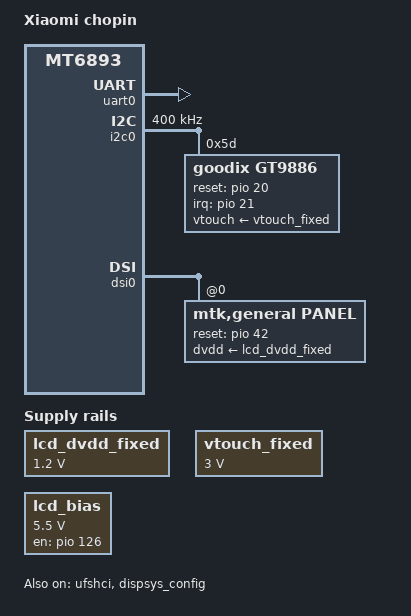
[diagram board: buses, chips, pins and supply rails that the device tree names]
// SPDX-License-Identifier: GPL-2.0
/*
 * Xiaomi chopin (Redmi Note 10 Pro / MT6891Z) board DTS
 * Target: Linux 5.10.233  (Hwhmi/kernel-mtk-6893 @ mt6893-5.10)
 *
 * 板级数据来源：4.14 原厂 arch/arm64/boot/dts/mediatek/chopin-mt6891.dtsi
 * 只取"板级差异"，SoC 内部一律使用 5.10 的 mt6893.dtsi（时钟 ID 两边不一致，不可互抄）
 *
 * 本轮目标：能启动、能挂分区、能出串口。以下内容**故意未包含**，因为它们
 * 依赖的驱动不在 5.10 树里，等系统起来后再逐个补：
 *   - 充电：bq2597x (master@65 / slave@66)、xmusb350@35、cp_qc30、usbpd_pm
 *   - 电量计：bq27z561@55（TI gauge）
 *   - 马达：aw8697_haptic@5a
 *   - 相机 LDO：wl2866d1/d2（5.10 只有 wl2864c / wl2868c）
 *   - 传感器、NFC、红外
 */

/dts-v1/;

#include "mediatek/mt6893.dtsi"
#include "mediatek/mt6359p.dtsi"
#include "mediatek/mt6893-clkitg.dtsi"
#include "mediatek/mt6893-disable-unused.dtsi"
#include "mediatek/cust_mt6893_msdc.dtsi"

/ {
	model = "Xiaomi chopin";
	compatible = "xiaomi,chopin", "mediatek,mt6893";

	/*
	 * memory 节点不写：MTK 由 lk 在启动时把真实 DRAM 布局写进 dtb
	 * （4.14 原厂 dts 里也没有 memory 节点，同样原因）
	 */

	/* ================================================================
	 * bring-up 阶段用 fixed regulator
	 *
	 * 原厂配置：
	 *   屏 DVDD  <- wl2866d2_dvdd2 (I2C9, WL2866D)
	 *   触控 VTP <- mt_pmic_vtp_ldo_reg
	 *
	 * 5.10 的实际情况：
	 *   - regulator 目录只有 wl2864c / wl2868c，没有 wl2866d
	 *   - mt6359p.dtsi 里没有 VTP LDO
	 * 所以先用 always-on 的 fixed regulator 顶上。硬件上 lk 已经把这些电供好了，
	 * 内核只是需要一个"合法对象"来满足 regulator_get()。
	 * ================================================================ */

	lcd_dvdd_fixed: regulator-lcd-dvdd {
		compatible = "regulator-fixed";
		regulator-name = "lcd-dvdd";
		regulator-min-microvolt = <1200000>;
		regulator-max-microvolt = <1200000>;
		regulator-always-on;
		regulator-boot-on;
	};

	vtouch_fixed: regulator-vtouch {
		compatible = "regulator-fixed";
		regulator-name = "vtouch";
		regulator-min-microvolt = <3000000>;
		regulator-max-microvolt = <3000000>;
		regulator-always-on;
		regulator-boot-on;
	};

	/*
	 * 屏偏置 ELVDD/ELVSS：ENP = GPIO126，ENN = GPIO148
	 * 这里只把 ENP 拉高（fixed regulator 只能带一个 gpio）。
	 * 如果点亮后发现偏置不足（画面暗/无显示），改成两路独立 regulator。
	 */
	lcd_bias: regulator-lcd-bias {
		compatible = "regulator-fixed";
		regulator-name = "lcd-bias";
		regulator-min-microvolt = <5500000>;
		regulator-max-microvolt = <5500000>;
		enable-active-high;
		gpio = <&pio 126 0>;
		regulator-always-on;
		regulator-boot-on;
	};
};

/* ================================================================
 * 串口：UART0 @ 0x11002000（早期调试）
 * lk 传的 bootargs 里通常已带 earlycon，这里只保证节点可用
 * ================================================================ */
&uart0 {
	status = "okay";
};

/* ================================================================
 * UFS：5.10 的 mt6893.dtsi 里已经配好 8 个时钟 + 中断 + reset
 * compatible 是 mainline 能认的 "mediatek,mt8183-ufshci"
 * 这里只需要打开
 * ================================================================ */
&ufshci {
	status = "okay";
};

/* ================================================================
 * 触控主选：Goodix GT9886 (I2C0 @ 0x5d)
 * reset = GPIO20, irq = GPIO21, 触摸区 1080x2280
 *
 * config 侧还需要：
 *   CONFIG_TOUCHSCREEN_MTK_TOUCH="GT9886"
 *   # CONFIG_TOUCHSCREEN_GOODIX is not set   ← 防止 mainline goodix.o 抢设备
 * ================================================================ */
&i2c0 {
	clock-frequency = <400000>;
	pinctrl-names = "default", "ts_int_active",
		"ts_reset_active", "ts_int_suspend",
		"ts_reset_suspend", "ts_i2c_mode";
	pinctrl-0 = <&ctp_pins_default>;
	pinctrl-1 = <&ctp_ts_int_active>;
	pinctrl-2 = <&ctp_ts_reset_active>;
	pinctrl-3 = <&ctp_ts_int_suspend>;
	pinctrl-4 = <&ctp_ts_reset_suspend>;
	pinctrl-5 = <&ctp_ts_i2c_mode>;
	status = "okay";

	gt9886@5d {
		compatible = "goodix,gt9886";
		reg = <0x5d>;
		status = "okay";
		interrupt-parent = <&pio>;
		interrupts = <21 IRQ_TYPE_EDGE_FALLING 21 0>;
		vtouch-supply = <&vtouch_fixed>;
		goodix,reset-gpio = <&pio 20 0x0>;
		goodix,irq-gpio = <&pio 21 0x0>;
		goodix,irq-flags = <2>;
		goodix,panel-max-id = <10>;
		goodix,panel-max-x = <1080>;
		goodix,panel-max-y = <2280>;
		goodix,panel-max-w = <256>;
		goodix,panel-max-p = <256>;
		goodix,input-max-x = <1080>;
		goodix,input-max-y = <2280>;
		goodix,panel-key-map = <158 172 217>;
		goodix,power-on-delay-us = <10000>;
		goodix,power-off-delay-us = <5000>;
		goodix,firmware-version = "6893v01";
		goodix,config-version = "6893v01";
		goodix,pen-enable;
		goodix,key-of-pen = <331 332>;
		tpd-filter-enable = <0>;
		tpd-filter-pixel-density = <161>;
		tpd-filter-custom-prameters = <0 0 0 0 0 0 0 0 0 0 0 0>;
		tpd-filter-custom-speed = <0 0 0>;
	};
};

/* ================================================================
 * 触控备选：Novatek NT36672C (SPI0)
 *
 * 原厂 dts 里 SPI0 上挂的是 novatek,NVT-ts-spi，固件名
 * "novatek_nt36672c_k10a_fw01.bin"（tianma）/ fw02（csot）。
 * 说明 chopin 有两种触控物料，按批次不同。
 *
 * 如果 GT9886 在 0x5d 上扫描不到（i2cdetect 无响应），把下面这段
 * 取消注释，并把 CONFIG_TOUCHSCREEN_MTK_TOUCH 改成 "NT36672C"
 * ================================================================ */
/*
&spi0 {
	#address-cells = <1>;
	#size-cells = <0>;
	status = "okay";
	mediatek,pad-select = <1>;
	mediatek,kthread-rt = <1>;

	ts_novatek@0 {
		compatible = "novatek,NVT-ts-spi";
		reg = <0>;
		status = "okay";
		spi-max-frequency = <9600000>;
		novatek,irq-gpio = <&pio 19 0x2001>;
		pinctrl-names = "pmx_ts_active", "pmx_ts_suspend";
		pinctrl-0 = <&ts_int_active &ts_cs_active>;
		pinctrl-1 = <&ts_int_suspend &ts_cs_suspend>;
		novatek,swrst-n8-addr = <0x03F0FE>;
		novatek,spi-rd-fast-addr = <0x03F310>;
		novatek,config-array-size = <2>;
		novatek,cfg_0 {
			novatek,tp-vendor = <0x46>;
			novatek,display-maker = <0x36>;
			novatek,fw-name = "novatek_nt36672c_k10a_fw01.bin";
			novatek,mp-name = "novatek_nt36672c_k10a_mp01.bin";
			novatek,clicknum-file-name = "nvt+tianma";
		};
		novatek,cfg_1 {
			novatek,tp-vendor = <0x53>;
			novatek,display-maker = <0x42>;
			novatek,fw-name = "novatek_nt36672c_k10a_fw02.bin";
			novatek,mp-name = "novatek_nt36672c_k10a_mp02.bin";
			novatek,clicknum-file-name = "nvt+csot";
		};
	};
};
*/

/* ================================================================
 * 显示：DSI0 + 通用 panel
 *
 * 驱动：drivers/gpu/drm/panel/mtk-drm-general-panel-driver.c
 * compatible 必须是 "mtk,general,panel"（实测该驱动的 of_match）
 *
 * ！！！关键缺口！！！
 * 面板初始化序列（lcm-init-cmd）、时序、DSC 参数都还没有。
 * k10a_42_02_0b_dsc_vdo 的驱动源码不在任何公开 4.14 树里。
 * 没有这些参数，panel 节点会 probe 但点不亮。
 * 拿到参数后填进下面标 TODO 的位置。
 * ================================================================ */
&dsi0 {
	status = "okay";
	#address-cells = <1>;
	#size-cells = <0>;

	panel@0 {
		compatible = "mtk,general,panel";
		reg = <0>;
		status = "okay";

		reset-gpios = <&pio 42 0>;	/* 原厂 lcm_rst = GPIO42 */
		dvdd-supply = <&lcd_dvdd_fixed>;

		/* ---- TODO: 以下全部需要从 panel 规格/驱动里补 ----
		 *
		 * lcm-init-cmd = /bits/ 8 < ... >;     初始化序列
		 * lcm-deinit-cmd = /bits/ 8 < ... >;
		 * backlight-setting-cmd = /bits/ 8 < ... >;
		 *
		 * panel-ext-param-setting {
		 *	ext-param-data_rate_khz = <...>;
		 *	ext-param-physical_width_um = <...>;
		 *	ext-param-physical_height_um = <...>;
		 *	ext-param-phy_timcon_setting { ... };
		 *	ext-param-dsc_setting { ... };   屏带 DSC，需开启
		 * };
		 *
		 * 分辨率为 1080 x 2400（物理），刷新率 60/90Hz
		 */
	};
};

/* ================================================================
 * Pinctrl
 * ================================================================ */
&pio {
	/* ---- 触控 GT9886 ---- */
	ctp_pins_default: eintdefault {
	};

	ctp_ts_int_active: int_active {
		pins_cmd_dat {
			pinmux = <PINMUX_GPIO21__FUNC_GPIO21>;
			input-enable;
		};
	};

	ctp_ts_reset_active: reset_active {
		pins_cmd_dat {
			pinmux = <PINMUX_GPIO20__FUNC_GPIO20>;
			output-high;
		};
	};

	ctp_ts_int_suspend: int_suspend {
		pins_cmd_dat {
			pinmux = <PINMUX_GPIO21__FUNC_GPIO21>;
			output-low;
		};
	};

	ctp_ts_reset_suspend: reset_suspend {
		pins_cmd_dat {
			pinmux = <PINMUX_GPIO20__FUNC_GPIO20>;
			output-low;
		};
	};

	ctp_ts_i2c_mode: i2cmode_default {
		pins_cmd_dat {
			pinmux = <PINMUX_GPIO204__FUNC_SCL0>,
				<PINMUX_GPIO205__FUNC_SDA0>;
		};
	};

	/* ---- 触控 Novatek（备选，配上面注释段用） ---- */
	ts_int_active: ts_int_active {
		pins_cmd_dat {
			pinmux = <PINMUX_GPIO19__FUNC_GPIO19>;
			slew-rate = <0>;
			bias-disable;
		};
	};

	ts_int_suspend: ts_int_suspend {
		pins_cmd_dat {
			pinmux = <PINMUX_GPIO19__FUNC_GPIO19>;
			slew-rate = <1>;
			output-low;
		};
	};

	ts_cs_active: ts_cs_active {
		pins_cmd_dat {
			pinmux = <PINMUX_GPIO169__FUNC_SPI0_B_CSB>,
				<PINMUX_GPIO170__FUNC_SPI0_B_MI>;
		};
	};

	ts_cs_suspend: ts_cs_suspend {
		pins_cmd_dat {
			pinmux = <PINMUX_GPIO169__FUNC_GPIO169>,
				<PINMUX_GPIO170__FUNC_GPIO170>;
			slew-rate = <1>;
			bias-pull-down;
			output-low;
		};
	};

	/* ---- 屏：复位 / 偏置 / TE ---- */
	lcm_rst_out1_gpio: lcm_rst_out1_gpio {
		pins_cmd_dat {
			pinmux = <PINMUX_GPIO42__FUNC_GPIO42>;
			slew-rate = <1>;
			output-high;
		};
	};

	lcm_rst_out0_gpio: lcm_rst_out0_gpio {
		pins_cmd_dat {
			pinmux = <PINMUX_GPIO42__FUNC_GPIO42>;
			slew-rate = <1>;
			output-low;
		};
	};

	lcd_bias_enp1_gpio: lcd_bias_enp1_gpio {
		pins_cmd_dat {
			pinmux = <PINMUX_GPIO126__FUNC_GPIO126>;
			slew-rate = <1>;
			output-high;
		};
	};

	lcd_bias_enp0_gpio: lcd_bias_enp0_gpio {
		pins_cmd_dat {
			pinmux = <PINMUX_GPIO126__FUNC_GPIO126>;
			slew-rate = <1>;
			output-low;
		};
	};

	lcd_bias_enn1_gpio: lcd_bias_enn1_gpio {
		pins_cmd_dat {
			pinmux = <PINMUX_GPIO148__FUNC_GPIO148>;
			slew-rate = <1>;
			output-high;
		};
	};

	lcd_bias_enn0_gpio: lcd_bias_enn0_gpio {
		pins_cmd_dat {
			pinmux = <PINMUX_GPIO148__FUNC_GPIO148>;
			slew-rate = <1>;
			output-low;
		};
	};

	lcm_dsi_te: lcm_dsi_te {
		pins_cmd_dat {
			pinmux = <PINMUX_GPIO41__FUNC_DSI_TE>;
		};
	};
};

/* ================================================================
 * 显示子系统（mediatek_v2 / DISP v2）
 *
 * 注意：mediatek_v2/platform/ 里只有 MT6789 的平台数据，没有 MT6893。
 * 若 dsi0 probe 报错或无 DDP 组件，需要补 mtk_drm_6893 平台数据，
 * 参考 mainline 的 42 补丁系列（Angelo Del Regno, 2026-07）里的
 * mt6893_legacy_mtx_trig_ids[]。
 * ================================================================ */
&dispsys_config {
	pinctrl-names = "lcm_rst_out1_gpio", "lcm_rst_out0_gpio", "mode_te_te";
	pinctrl-0 = <&lcm_rst_out1_gpio>;
	pinctrl-1 = <&lcm_rst_out0_gpio>;
	pinctrl-2 = <&lcm_dsi_te>;
	status = "okay";
};
